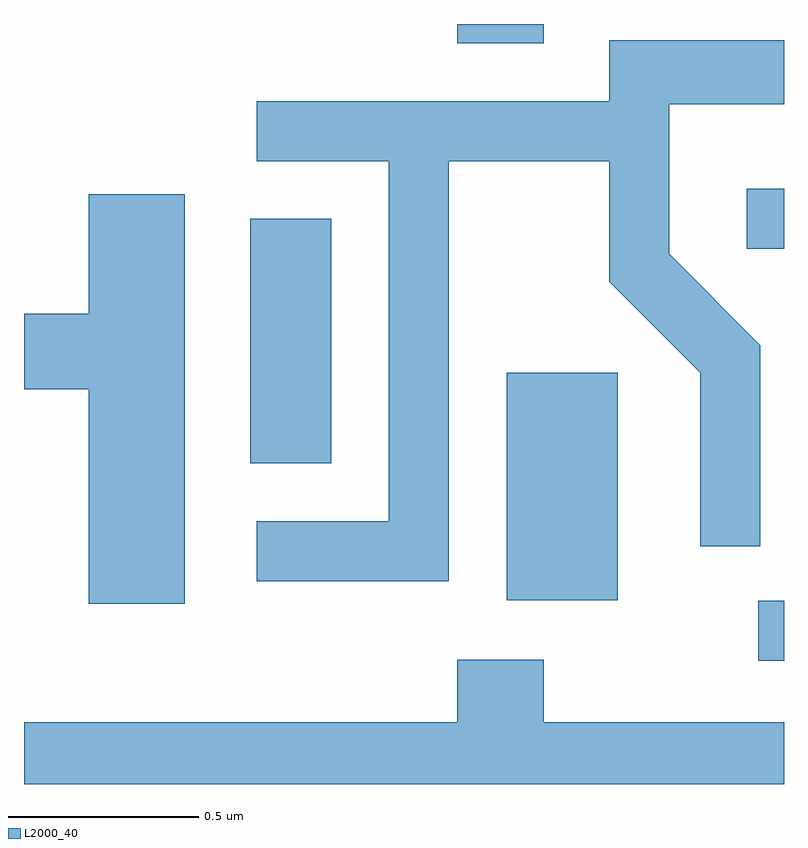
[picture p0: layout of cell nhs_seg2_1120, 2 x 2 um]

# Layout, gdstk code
import gdstk
lib = gdstk.Library(unit=1e-6, precision=1e-09)
def R(c, l, rs):  # rectangles x0, y0, x1, y1
    for r in rs: c.add(gdstk.rectangle(r[:2], r[2:], *l))
def P(c, l, *ps):  # polygons
    for p in ps: c.add(gdstk.Polygon(p, *l))
L2000_40 = (2000, 40)

nhs_seg2_1120 = lib.new_cell('nhs_seg2_1120')
R(nhs_seg2_1120, L2000_40, [(195.543,1002.126,195.611,1002.284), (194.881,1002.286,195.174,1002.884), (194.206,1002.646,194.419,1003.289), (195.513,1003.211,195.611,1003.369), (194.751,1003.751,194.979,1003.802)])
P(nhs_seg2_1120, L2000_40, [(194.729,1003.441),(195.151,1003.441),(195.151,1003.124),(195.391,1002.884),(195.391,1002.428),(195.549,1002.428),(195.549,1002.957),(195.309,1003.197),(195.309,1003.591),(195.611,1003.591),(195.611,1003.759),(195.151,1003.759),(195.151,1003.599),(194.223,1003.599),(194.223,1003.441),(194.571,1003.441),(194.571,1002.494),(194.223,1002.494),(194.223,1002.336),(194.729,1002.336)],
  [(194.034,1003.354),(193.781,1003.354),(193.781,1003.039),(193.611,1003.039),(193.611,1002.841),(193.781,1002.841),(193.781,1002.276),(194.034,1002.276)],
  [(195.611,1001.964),(194.979,1001.964),(194.979,1002.129),(194.751,1002.129),(194.751,1001.964),(193.611,1001.964),(193.611,1001.802),(195.611,1001.802)])

lib.write_gds('nhs_seg2_1120.gds')
